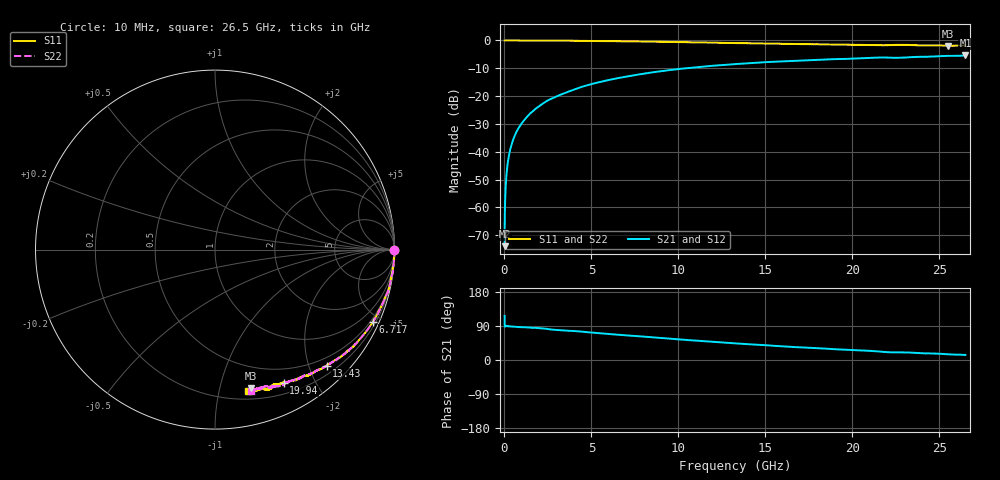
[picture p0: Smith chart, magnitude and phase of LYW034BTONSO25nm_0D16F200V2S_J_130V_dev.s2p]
!Keysight Technologies,N5222B,MY61253708,A.15.00.15
!Date: Wednesday, June 19, 2024 09:56:33
!Correction: S11(C  2-Port  )
!S21(C  2-Port  )
!S12(C  2-Port  )
!S22(C  2-Port  )
!S2P File: Measurements: S11, S21, S12, S22:
# Hz S  RI  R 50
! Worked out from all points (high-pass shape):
!   2651 points, 10 MHz to 26.5 GHz, reference 50 ohm
!   highest |S21| = -5.39 dB at 26.5 GHz (marker M1); lowest = -74.0 dB at 10 MHz (marker M2)
!   |S21| within 3 dB of the highest: 13.53 GHz to end of sweep
!   lowest |S11| = -1.9 dB at 25.5 GHz (marker M3), VSWR 8.99, Z = 14.6 - j62.7 ohm
!   |S11| at or under -10 dB: nowhere
!   |S22| runs from -1.9 to 0.0 dB; largest |S21 - S12| = 0.0062
!   S11 on the Smith chart (normalised r, x): 10 MHz: open; 6.717 GHz: 0.36, -4.56; 13.43 GHz: 0.35, -2.30; 19.94 GHz: 0.32, -1.59; 26.5 GHz: 0.27, -1.22
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1e7  0.9985 -0.00285  -8.87e-05 0.00018  -3.48e-05 0.000206  0.9987 -0.0011
7.997358e7  0.9999 -0.00573  2.1e-05 0.00261  2.39e-05 0.00262  0.9994 -0.00519
1.499472e8  0.9999 -0.0108  4.08e-05 0.00493  5.24e-05 0.00498  0.9996 -0.0101
1.899321e8  1 -0.0128  7.67e-05 0.00625  8.38e-05 0.00633  0.9998 -0.0119
2.399132e8  0.9996 -0.0165  0.000124 0.00792  0.000116 0.00795  0.9994 -0.0156
3.298792e8  0.9996 -0.0223  0.000243 0.0109  0.000264 0.011  0.9996 -0.0211
4.598302e8  0.9989 -0.0312  0.000432 0.0151  0.000458 0.0152  0.9986 -0.0303
6.197698e8  0.999 -0.0414  0.000827 0.0204  0.000828 0.0205  0.9989 -0.0403
8.096981e8  0.9982 -0.054  0.00139 0.0265  0.00137 0.0267  0.9977 -0.0526
1.43946e9  0.9908 -0.0968  0.00337 0.0473  0.00339 0.0474  0.9933 -0.0927
2.329125e9  0.9822 -0.1513  0.00984 0.0774  0.01 0.0777  0.9835 -0.1507
3.218789e9  0.9708 -0.2078  0.021 0.1036  0.0212 0.1042  0.9719 -0.2055
4.428332e9  0.9432 -0.2798  0.0379 0.1407  0.0383 0.1415  0.9454 -0.2755
6.717468e9  0.8797 -0.4024  0.0875 0.1973  0.0887 0.1978  0.8824 -0.3997
8.846664e9  0.8045 -0.5013  0.1435 0.2359  0.145 0.2364  0.8079 -0.4976
1.3255e10  0.6289 -0.6419  0.2703 0.2609  0.2724 0.2604  0.6358 -0.6384
1.343493e10  0.6217 -0.6475  0.2752 0.2602  0.2776 0.2597  0.6258 -0.6434
1.767333e10  0.4571 -0.722  0.3767 0.2338  0.3798 0.232  0.4716 -0.7181
1.994248e10  0.383 -0.7437  0.421 0.2096  0.4231 0.2072  0.4012 -0.7392
2.209166e10  0.3215 -0.7553  0.4598 0.1724  0.4613 0.1692  0.3202 -0.7611
2.550038e10  0.2026 -0.7737  0.5094 0.1362  0.5105 0.1353  0.2272 -0.7767
2.65e10  0.183 -0.7873  0.5227 0.1248  0.5221 0.1207  0.2008 -0.7865
